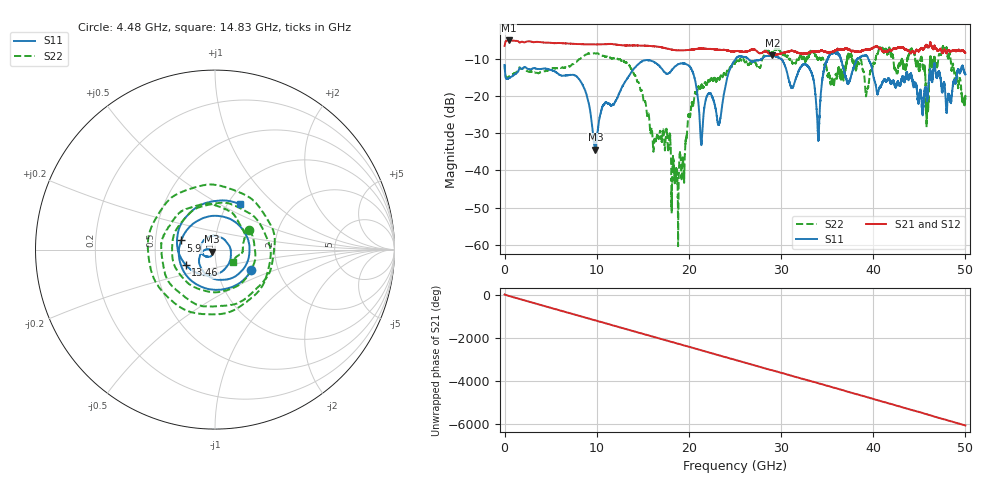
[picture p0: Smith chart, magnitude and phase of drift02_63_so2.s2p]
!Created with skrf (http://scikit-rf.org).
# Hz S RI R 50.0
!freq ReS11 ImS11 ReS21 ImS21 ReS12 ImS12 ReS22 ImS22
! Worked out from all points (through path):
!   10001 points, 300 kHz to 50 GHz, reference 50 ohm
!   highest |S21| = -5.04 dB at 430.3 MHz (marker M1); lowest = -9.0 dB at 29.05 GHz (marker M2)
!   group delay of S21, straight-line fit = 336 ps
!   lowest |S11| = -34.5 dB at 9.845 GHz (marker M3), VSWR 1.04, Z = 48.5 - j1.09 ohm
!   |S11| at or under -10 dB: start of sweep to 25.07 GHz; 29.98 GHz to 35.05 GHz (5.073 GHz wide, 15.6 % of centre); 39.48 GHz to end of sweep (the widest 3 of 10)
!   |S22| runs from -60.4 to -6.5 dB; largest |S21 - S12| = 0.023
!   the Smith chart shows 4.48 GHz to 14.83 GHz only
!   S11 on the Smith chart (normalised r, x): 4.48 GHz: 1.45, -0.36; 5.9 GHz: 0.68, +0.07; 13.46 GHz: 0.71, -0.13; 14.83 GHz: 1.14, +0.63
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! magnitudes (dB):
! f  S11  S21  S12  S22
! 300 kHz  -11.6  -6.5  -6.4  -11.5
! 430.3 MHz  -15.2  -5.0  -5.0  -14.8
! 4.48 GHz  -12.6  -5.6  -5.6  -13.2
! 5.9 GHz  -14.2  -5.7  -5.7  -12.4
! 8.335 GHz  -16.4  -6.0  -6.0  -9.6
! 9.845 GHz  -34.5  -6.1  -6.1  -8.5
! 13.46 GHz  -14.7  -6.4  -6.4  -11.6
! 14.83 GHz  -10.8  -6.4  -6.4  -18.6
! 16.67 GHz  -11.6  -6.7  -6.7  -31.2
! 18.67 GHz  -11.8  -7.7  -7.7  -40.8
! 20.37 GHz  -13.3  -7.5  -7.5  -21.9
! 21.37 GHz  -32.2  -7.2  -7.2  -17.0
! 23.31 GHz  -27.3  -7.5  -7.6  -15.6
! 25 GHz  -10.3  -7.9  -8.0  -11.2
! 29.05 GHz  -9.1  -9.0  -9.0  -8.2
! 33.34 GHz  -14.0  -8.0  -8.1  -8.1
! 34.02 GHz  -31.7  -7.9  -7.9  -10.2
! 35.54 GHz  -8.4  -8.1  -8.1  -15.4
! 41.67 GHz  -15.3  -7.7  -7.7  -7.4
! 45.87 GHz  -20.0  -6.9  -6.9  -23.9
! 47.76 GHz  -17.2  -7.6  -7.5  -7.3
! 50 GHz  -14.1  -8.4  -8.4  -20.2
